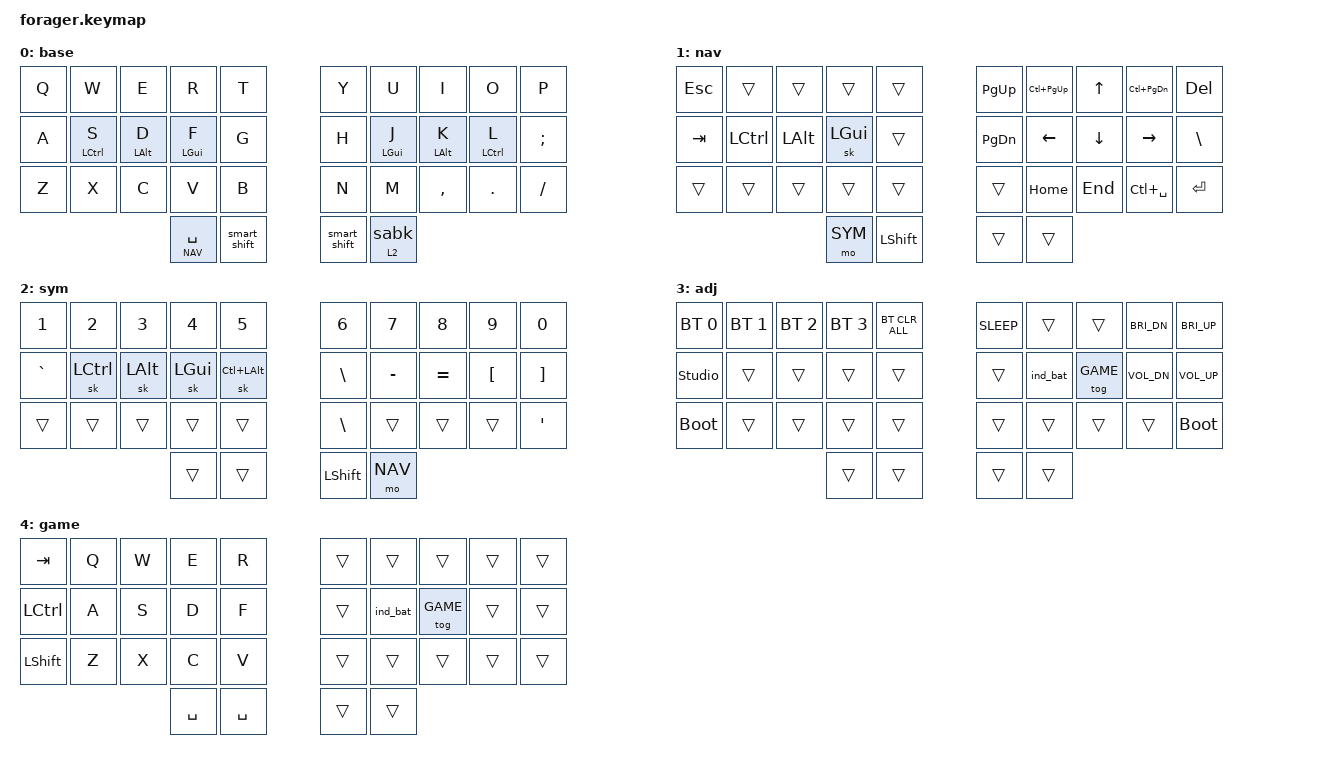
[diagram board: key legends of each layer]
#include <behaviors.dtsi>
#include <dt-bindings/zmk/bt.h>
#include <dt-bindings/zmk/outputs.h>
#include <behaviors/rgbled_widget.dtsi>  // battery stats light widgets
//adding to enable me to update :D
#define BASE 0
#define NAV  1
#define SYM  2
#define ADJ  3
#define GAME 4

#define AS(keycode) &as LS(keycode) keycode     // Autoshift Macro
#define MEH LS(LC(LALT))

/ {
    behaviors {
        as: auto_shift {
            compatible = "zmk,behavior-hold-tap";
            #binding-cells = <2>;
            tapping-term-ms = <250>;
            require-prior-idle-ms = <100>;
            flavor = "tap-preferred";
            bindings = <&kp>, <&kp>;
        };
        ht: hold_tap {
            compatible = "zmk,behavior-hold-tap";
            #binding-cells = <2>;
            tapping-term-ms = <200>;
            flavor = "balanced";
            bindings = <&kp>, <&kp>;
        };
        sabk: shift_to_alt_backspace {
            compatible = "zmk,behavior-mod-morph";
            #binding-cells = <0>;
            bindings = <&kp BSPC>, <&kp LA(BSPC)>;
            mods = <(MOD_LSFT|MOD_RSFT)>;
        };
        smart_shift: smart_shift {
            compatible = "zmk,behavior-mod-morph";
            #binding-cells = <0>;
            bindings = <&sk LSHFT>, <&caps_word>;
            mods = <(MOD_LSFT|MOD_RSFT)>;
        };
        sym_bspc: left_thumb_hold_tap {
            compatible = "zmk,behavior-hold-tap";
            #binding-cells = <2>;
            flavor = "tap-preferred";
            tapping-term-ms = <150>;
            quick-tap-ms = <200>;
            bindings = <&mo>, <&sabk>;
        };
        lhm: left_homerow_mods {
            compatible = "zmk,behavior-hold-tap";
            #binding-cells = <2>;
            flavor = "balanced";
            tapping-term-ms = <280>;
            quick-tap-ms = <175>;
            require-prior-idle-ms = <150>;
            bindings = <&kp>, <&kp>;
            hold-trigger-key-positions = <5 6 7 8 9 15 16 17 18 19 25 26 27 28 29 30 31 32 33>;
        };
        rhm: right_homerow_mods {
            compatible = "zmk,behavior-hold-tap";
            #binding-cells = <2>;
            flavor = "balanced";
            tapping-term-ms = <280>;
            quick-tap-ms = <175>;
            require-prior-idle-ms = <150>;
            bindings = <&kp>, <&kp>;
            hold-trigger-key-positions = <0 1 2 3 4 10 11 12 13 14 20 21 22 23 24 30 31 32 33>;
        };
    };

    conditional_layers {
        compatible = "zmk,conditional-layers";
        tri_layer {
            if-layers = <1 2>;
            then-layer = <3>;
        };
    };

    keymap {
        compatible = "zmk,keymap";

        // LAYER 0: BASE QWERTY (Standard Windows/Linux layout)
        // Use this for your daily typing.
        base {
            bindings = <
            &kp Q           &kp W           &kp E           &kp R           &kp T                                           &kp Y           &kp U           &kp I           &kp O           &kp P
            &kp A           &lhm LCTRL S    &lhm LALT D     &lhm LGUI F     &kp G                                           &kp H           &rhm LGUI J     &rhm LALT K     &rhm LCTRL L    &kp SEMI
            &kp Z           &kp X           &kp C           &kp V           &kp B                                           &kp N           &kp M           &kp COMMA       &kp DOT         &kp SLASH
                                             &lt NAV SPACE   &smart_shift    &smart_shift    &sym_bspc 2 0
            >;
        };

        // LAYER 1: NAVIGATION (Arrows, Page Up/Down, Tab)
        nav {
            bindings = <
            &kp ESC         &trans          &trans          &trans          &trans                                          &kp PAGE_UP     &kp LC(PG_UP)   &kp UP          &kp LC(PG_DN)   &kp DELETE
            &kp TAB         &kp LCTRL       &kp LALT        &sk LGUI        &trans                                          &kp PAGE_DOWN   &kp LEFT        &kp DOWN        &kp RIGHT       &kp BSLH
            &trans          &trans          &trans          &trans          &trans                                          &trans          &kp HOME        &kp END         &kp LC(SPACE)   &kp ENTER 
                                             &mo SYM         &kp LSHFT       &trans          &trans
            >;
        };

        // LAYER 2: SYMBOLS & NUMBERS
        sym {
            bindings = <
            &kp N1          &kp N2          &kp N3          &kp N4          &kp N5                                          &kp N6          &kp N7          &kp N8          &kp N9          &kp N0
            &kp GRAVE       &sk LCTRL       &sk LALT        &sk LGUI        &sk LC(LALT)                                    &kp BSLH        &kp MINUS       &kp EQUAL       &kp LBKT        &kp RBKT
            &trans          &trans          &trans          &trans          &trans                                          &kp BSLH        &trans          &trans          &trans          &kp SQT 
                                             &trans          &trans          &kp LSHFT       &mo NAV
            >;
        };

	// LAYER 3: ADJ / SYSTEM
        adj {
            bindings = <
            &bt BT_SEL 0    &bt BT_SEL 1    &bt BT_SEL 2    &bt BT_SEL 3    &bt BT_CLR_ALL                                   &kp C_SLEEP     &trans          &trans          &kp C_BRI_DN    &kp C_BRI_UP
            &studio_unlock  &trans          &trans          &trans          &trans                                           &trans          &ind_bat        &tog GAME       &kp C_VOL_DN    &kp C_VOL_UP
            &bootloader     &trans          &trans          &trans          &trans                                           &trans          &trans          &trans          &trans          &bootloader
                                             &trans          &trans          &trans          &trans
            >;
        };
	
	// LAYER 4: gaming layer turning the left hand keeb into a wasd gaming controller
	game {
            bindings = <
            &kp TAB         &kp Q           &kp W           &kp E           &kp R                                           &trans          &trans          &trans          &trans          &trans
            &kp LCTRL       &kp A           &kp S           &kp D           &kp F                                           &trans          &ind_bat        &tog GAME       &trans          &trans
            &kp LSHFT       &kp Z           &kp X           &kp C           &kp V                                           &trans          &trans          &trans          &trans          &trans
                                             &kp SPACE       &kp SPACE       &trans          &trans
            >;
        };
    };
};

// Behavior configurations preserved from your original build
&lt {
    tapping-term-ms = <150>;
    quick-tap-ms = <200>;
};

&mt {
    quick-tap-ms = <200>;
};

&sk {
    release-after-ms = <500>;
    quick-release;
};
